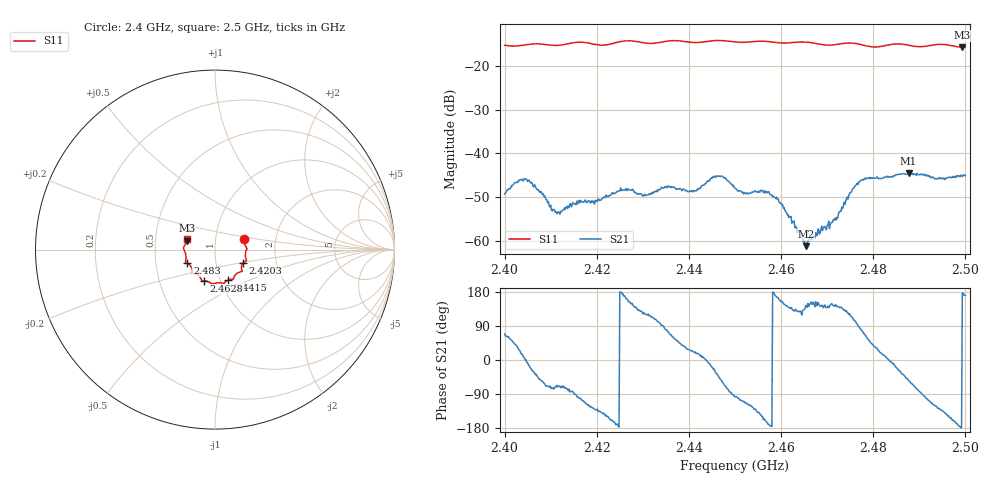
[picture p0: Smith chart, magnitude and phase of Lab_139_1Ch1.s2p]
# Hz S RI R 50
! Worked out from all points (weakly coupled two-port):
!   601 points, 2.4 GHz to 2.5 GHz, reference 50 ohm
!   highest |S21| = -44.59 dB at 2.4877 GHz (marker M1); lowest = -61.2 dB at 2.4653 GHz (marker M2)
!   lowest |S11| = -15.7 dB at 2.4993 GHz (marker M3), VSWR 1.39, Z = 36.4 + j3.69 ohm
!   |S11| at or under -10 dB: start of sweep to end of sweep
!   S12 and S22 are empty: the file has one direction only
!   S11 on the Smith chart (normalised r, x): 2.4 GHz: 1.38, +0.16; 2.4203 GHz: 1.35, -0.21; 2.4415 GHz: 1.09, -0.38; 2.4628 GHz: 0.83, -0.30; 2.483 GHz: 0.73, -0.11; 2.5 GHz: 0.73, +0.09
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2.4e9  0.1618 0.0565  0.00124 0.00319  0 0  0 0
2.404333e9  0.172 0.0171  0.00511 0.000448  0 0  0 0
2.4115e9  0.1688 -0.0261  0.000661 -0.00195  0 0  0 0
2.416667e9  0.1754 -0.0619  -0.000707 -0.00272  0 0  0 0
2.420333e9  0.1561 -0.0747  -0.00218 -0.00208  0 0  0 0
2.425333e9  0.1502 -0.1162  -0.00378 9.98e-05  0 0  0 0
2.430333e9  0.1304 -0.1279  -0.00185 0.00286  0 0  0 0
2.433333e9  0.1085 -0.1481  -0.000694 0.00379  0 0  0 0
2.4415e9  0.0732 -0.1691  0.00352 0.00109  0 0  0 0
2.4465e9  0.0478 -0.1887  0.00387 -0.00382  0 0  0 0
2.45e9  0.0298 -0.1846  -0.000498 -0.00397  0 0  0 0
2.4575e9  -0.0208 -0.1874  -0.00341 -0.000462  0 0  0 0
2.462833e9  -0.0624 -0.1743  -0.00105 0.00131  0 0  0 0
2.465333e9  -0.0724 -0.1722  -0.000696 0.000517  0 0  0 0
2.466667e9  -0.0753 -0.1674  -0.000872 0.000527  0 0  0 0
2.471833e9  -0.1088 -0.1362  -0.00143 0.000951  0 0  0 0
2.477e9  -0.1254 -0.1243  0.000315 0.00468  0 0  0 0
2.483e9  -0.1542 -0.0764  0.00546 0.000393  0 0  0 0
2.483333e9  -0.1565 -0.0749  0.00531 9.73e-05  0 0  0 0
2.487667e9  -0.1625 -0.0553  0.00349 -0.00475  0 0  0 0
2.499333e9  -0.1558 0.0494  -0.0054 0.000282  0 0  0 0
2.5e9  -0.1537 0.0579  -0.00544 0.000928  0 0  0 0
